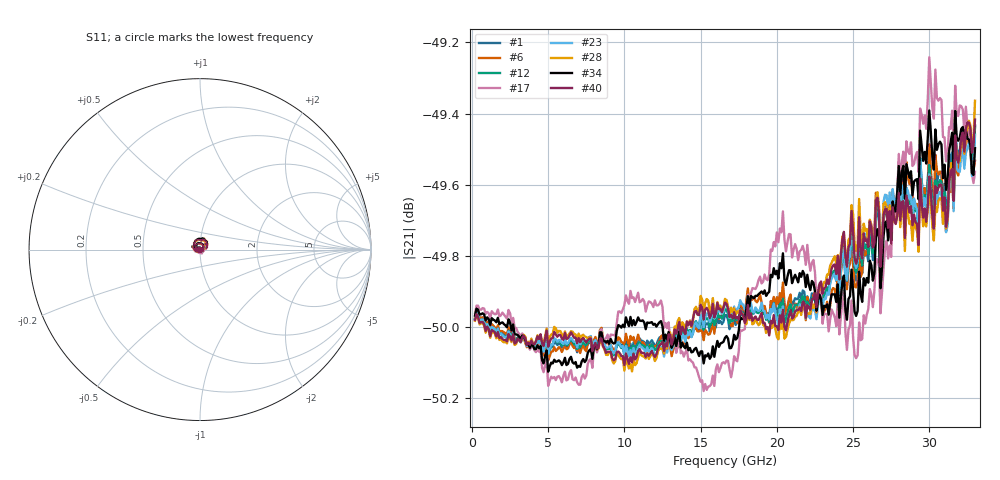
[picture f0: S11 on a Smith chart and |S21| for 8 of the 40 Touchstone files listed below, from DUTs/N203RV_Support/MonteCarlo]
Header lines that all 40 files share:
# GHZ S RI R 50
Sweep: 200 MHz to 33 GHz
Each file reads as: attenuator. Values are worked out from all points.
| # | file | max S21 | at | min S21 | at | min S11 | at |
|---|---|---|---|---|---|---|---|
| 1 | N203RV_0.s2p | -49.43 dB | 33 GHz | -50.1 dB | 5 GHz | -47.2 dB | 12.3 GHz |
| 2 | N203RV_2.s2p | -49.41 dB | 33 GHz | -50.1 dB | 9.3 GHz | -52.3 dB | 24.1 GHz |
| 3 | N203RV_3.s2p | -49.41 dB | 33 GHz | -50.1 dB | 10 GHz | -48.0 dB | 23.9 GHz |
| 4 | N203RV_5.s2p | -49.37 dB | 33 GHz | -50.1 dB | 10.5 GHz | -48.3 dB | 12.3 GHz |
| 5 | N203RV_7.s2p | -49.45 dB | 32.4 GHz | -50.1 dB | 5 GHz | -49.1 dB | 12.6 GHz |
| 6 | N203RV_8.s2p | -49.45 dB | 32.4 GHz | -50.1 dB | 5 GHz | -53.8 dB | 12.6 GHz |
| 7 | N203RV_9.s2p | -49.42 dB | 33 GHz | -50.1 dB | 10.5 GHz | -50.1 dB | 12.6 GHz |
| 8 | N203RV_10.s2p | -49.19 dB | 30 GHz | -50.2 dB | 15.2 GHz | -51.0 dB | 13.5 GHz |
| 9 | N203RV_11.s2p | -49.44 dB | 33 GHz | -50.1 dB | 10.5 GHz | -47.9 dB | 24 GHz |
| 10 | N203RV_12.s2p | -49.46 dB | 33 GHz | -50.1 dB | 12 GHz | -47.2 dB | 12.6 GHz |
| 11 | N203RV_14.s2p | -49.43 dB | 33 GHz | -50.1 dB | 10 GHz | -47.8 dB | 24 GHz |
| 12 | N203RV_16.s2p | -49.44 dB | 33 GHz | -50.1 dB | 10 GHz | -46.3 dB | 12.3 GHz |
| 13 | N203RV_18.s2p | -49.38 dB | 31.7 GHz | -50.1 dB | 5 GHz | -46.9 dB | 12.2 GHz |
| 14 | N203RV_19.s2p | -49.34 dB | 33 GHz | -50.1 dB | 10.5 GHz | -56.3 dB | 11.9 GHz |
| 15 | N203RV_21.s2p | -49.33 dB | 31.7 GHz | -50.1 dB | 6.9 GHz | -53.2 dB | 12 GHz |
| 16 | N203RV_24.s2p | -49.38 dB | 33 GHz | -50.1 dB | 10.5 GHz | -56.3 dB | 11.9 GHz |
| 17 | N203RV_27.s2p | -49.24 dB | 30 GHz | -50.2 dB | 15.2 GHz | -54.4 dB | 12.5 GHz |
| 18 | N203RV_28.s2p | -49.44 dB | 31.7 GHz | -50.1 dB | 5 GHz | -50.9 dB | 12.1 GHz |
| 19 | N203RV_29.s2p | -49.38 dB | 31.7 GHz | -50.1 dB | 5 GHz | -50.9 dB | 12 GHz |
| 20 | N203RV_31.s2p | -49.18 dB | 30 GHz | -50.2 dB | 15.4 GHz | -62.2 dB | 12.5 GHz |
| 21 | N203RV_32.s2p | -49.44 dB | 33 GHz | -50.1 dB | 10 GHz | -50.6 dB | 12.6 GHz |
| 22 | N203RV_33.s2p | -49.44 dB | 33 GHz | -50.1 dB | 10.3 GHz | -48.0 dB | 12.7 GHz |
| 23 | N203RV_34.s2p | -49.46 dB | 33 GHz | -50.1 dB | 10.5 GHz | -50.1 dB | 12.4 GHz |
| 24 | N203RV_37.s2p | -49.34 dB | 33 GHz | -50.1 dB | 10.5 GHz | -49.7 dB | 11.9 GHz |
| 25 | N203RV_38.s2p | -49.41 dB | 33 GHz | -50.1 dB | 10 GHz | -46.9 dB | 12.8 GHz |
| 26 | N203RV_39.s2p | -49.39 dB | 33 GHz | -50.1 dB | 10.5 GHz | -50.4 dB | 11.9 GHz |
| 27 | N203RV_40.s2p | -49.32 dB | 30 GHz | -50.1 dB | 5 GHz | -49.1 dB | 13.5 GHz |
| 28 | N203RV_44.s2p | -49.36 dB | 33 GHz | -50.1 dB | 10.5 GHz | -48.3 dB | 12.2 GHz |
| 29 | N203RV_46.s2p | -49.24 dB | 30 GHz | -50.2 dB | 15.2 GHz | -52.9 dB | 12.5 GHz |
| 30 | N203RV_47.s2p | -49.35 dB | 33 GHz | -50.1 dB | 10.5 GHz | -51.0 dB | 11.9 GHz |
| 31 | N203RV_48.s2p | -49.41 dB | 33 GHz | -50.1 dB | 10.5 GHz | -48.5 dB | 12.4 GHz |
| 32 | N203RV_49.s2p | -49.25 dB | 30 GHz | -50.2 dB | 15.2 GHz | -52.0 dB | 13.5 GHz |
| 33 | N203RV_53.s2p | -49.46 dB | 33 GHz | -50.1 dB | 5 GHz | -46.4 dB | 12.1 GHz |
| 34 | N203RV_54.s2p | -49.39 dB | 30 GHz | -50.1 dB | 5 GHz | -48.8 dB | 12.1 GHz |
| 35 | N203RV_55.s2p | -49.39 dB | 31.7 GHz | -50.1 dB | 5 GHz | -50.9 dB | 12.1 GHz |
| 36 | N203RV_62.s2p | -49.43 dB | 32.5 GHz | -50.1 dB | 10 GHz | -48.6 dB | 12.6 GHz |
| 37 | N203RV_63.s2p | -49.41 dB | 33 GHz | -50.1 dB | 10.5 GHz | -48.3 dB | 12.4 GHz |
| 38 | N203RV_64.s2p | -49.38 dB | 33 GHz | -50.1 dB | 10.5 GHz | -51.2 dB | 11.9 GHz |
| 39 | N203RV_65.s2p | -49.20 dB | 30 GHz | -50.2 dB | 15.4 GHz | -51.7 dB | 12.5 GHz |
| 40 | N203RV_67.s2p | -49.42 dB | 33 GHz | -50.1 dB | 10 GHz | -50.9 dB | 12.6 GHz |
